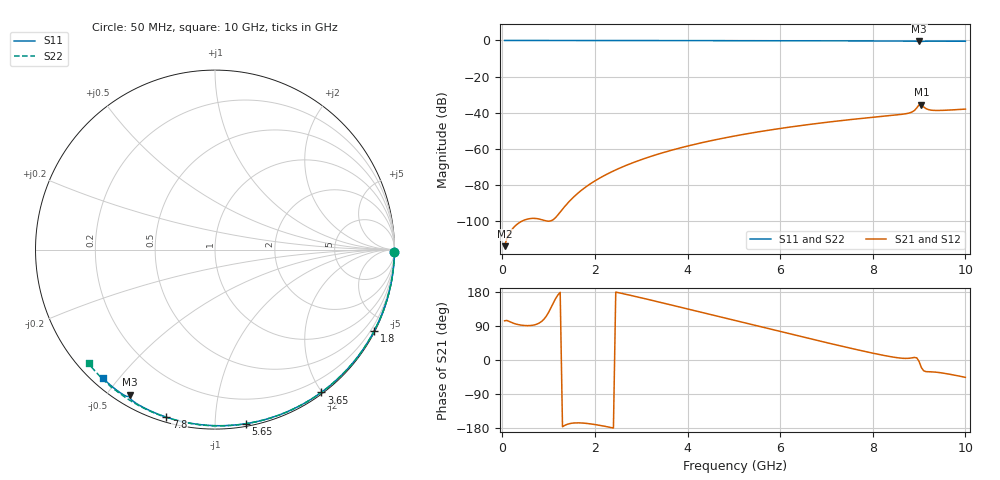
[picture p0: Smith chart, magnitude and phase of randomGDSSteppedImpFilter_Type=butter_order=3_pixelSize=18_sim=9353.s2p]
! freq	dB(S11)	phase(S11)	dB(S12)	phase(S12)
!  dB(S21)	phase(S21)	dB(S22)	phase(S22)
!S-par simulation data
#  GHz  S  DB  R 50
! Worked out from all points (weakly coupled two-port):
!   200 points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, 50 MHz to 10 GHz, reference 50 ohm
!   highest |S21| = -35.58 dB at 9.05 GHz (marker M1); lowest = -113.8 dB at 50 MHz (marker M2)
!   lowest |S11| = -0.6 dB at 9 GHz (marker M3), VSWR 30.57, Z = 2.17 - j28.6 ohm
!   |S11| at or under -10 dB: nowhere
!   |S22| runs from -0.5 to 0.0 dB; largest |S21 - S12| = 0
!   S11 on the Smith chart (normalised r, x): 50 MHz: open; 1.8 GHz: 0.04, -4.18; 3.65 GHz: 0.02, -1.99; 5.65 GHz: 0.02, -1.19; 7.8 GHz: 0.02, -0.75; 10 GHz: 0.03, -0.45
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0.05  -0.00 -0.8  -113.80 103.5  -113.80 103.5  -0.00 -0.8
0.9  -0.01 -13.6  -99.49 107.7  -99.49 107.7  -0.02 -14.3
1.75  -0.03 -26.2  -82.05 -166.5  -82.05 -166.5  -0.04 -27.5
1.8  -0.03 -26.9  -81.10 -167.0  -81.10 -167.0  -0.04 -28.3
1.85  -0.04 -27.7  -80.20 -167.7  -80.20 -167.7  -0.04 -29.1
2.2  -0.04 -32.8  -74.77 -174.6  -74.77 -174.6  -0.04 -34.4
2.55  -0.05 -37.8  -70.45 176.6  -70.45 176.6  -0.05 -39.7
3.4  -0.07 -49.9  -62.60 152.5  -62.60 152.5  -0.07 -52.4
3.65  -0.07 -53.3  -60.76 145.1  -60.76 145.1  -0.08 -56.0
4.3  -0.09 -62.2  -56.60 125.8  -56.60 125.8  -0.09 -65.3
5.05  -0.11 -72.2  -52.69 103.3  -52.69 103.3  -0.12 -75.7
5.65  -0.13 -79.9  -50.06 85.4  -50.06 85.4  -0.14 -83.8
6.7  -0.18 -93.0  -46.23 54.5  -46.23 54.5  -0.19 -97.5
7.8  -0.25 -106.2  -43.01 23.4  -43.01 23.4  -0.26 -111.3
8.35  -0.29 -112.7  -41.61 9.5  -41.61 9.5  -0.30 -118.1
8.8  -0.35 -118.2  -40.04 4.8  -40.04 4.8  -0.35 -123.5
8.9  -0.40 -119.6  -38.72 6.8  -38.72 6.8  -0.36 -124.7
9  -0.57 -120.3  -35.63 -3.8  -35.63 -3.8  -0.36 -125.9
9.05  -0.55 -120.0  -35.58 -20.1  -35.58 -20.1  -0.35 -126.5
9.15  -0.41 -121.0  -37.71 -30.7  -37.71 -30.7  -0.37 -127.8
9.3  -0.38 -123.0  -38.66 -31.5  -38.66 -31.5  -0.39 -129.6
10  -0.44 -131.2  -37.97 -45.8  -37.97 -45.8  -0.47 -138.0
